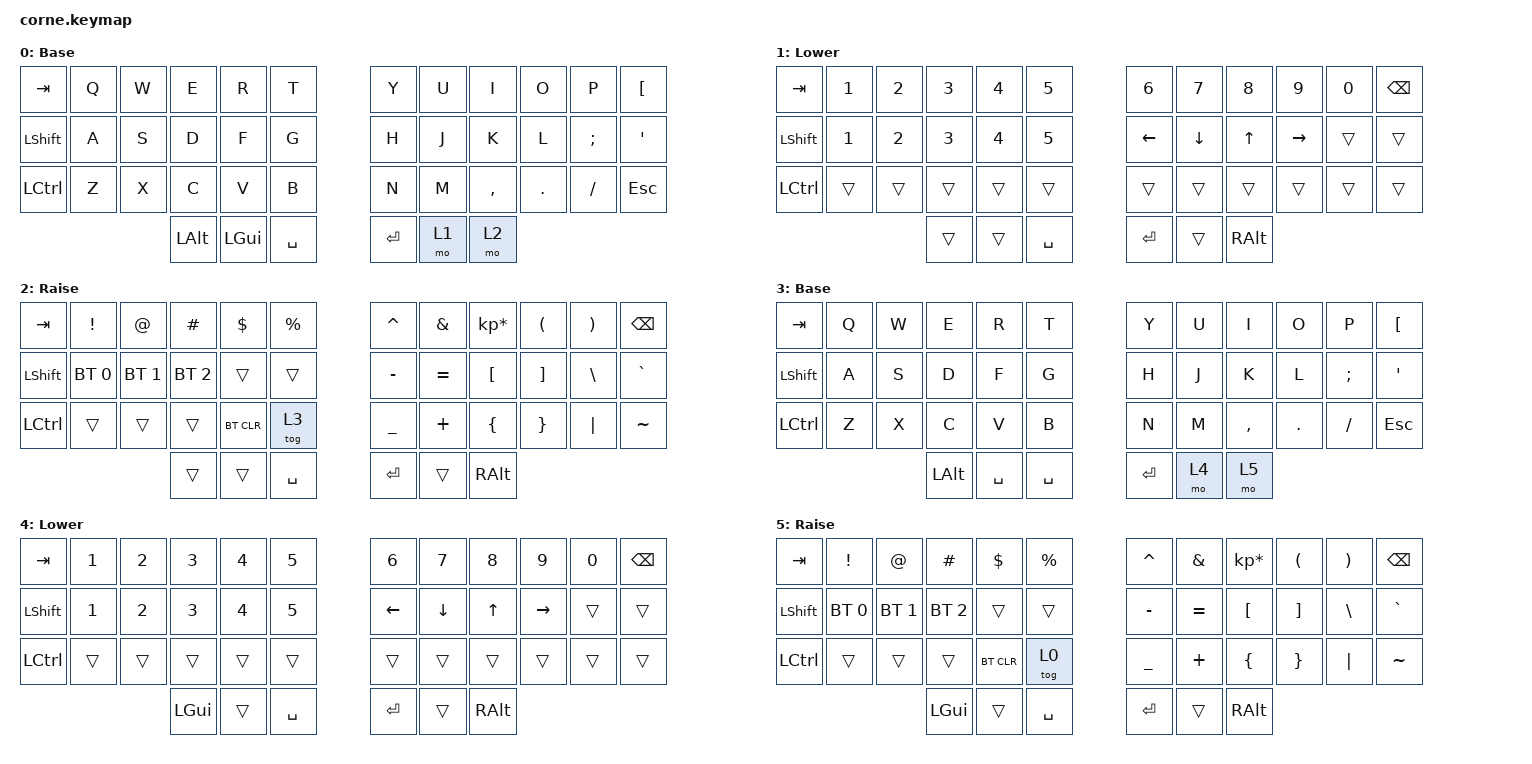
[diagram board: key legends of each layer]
/*
 * Copyright (c) 2020 The ZMK Contributors
 *
 * SPDX-License-Identifier: MIT
 */

#include <behaviors.dtsi>
#include <dt-bindings/zmk/bt.h>
#include <dt-bindings/zmk/keys.h>

/ {
    keymap {
        compatible = "zmk,keymap";

        default_layer {
            // -----------------------------------------------------------------------------------------
            // |  TAB |  Q  |  W  |  E  |  R  |  T  |   |  Y  |  U   |  I  |  O  |  P  | BKSP |
            // | CTRL |  A  |  S  |  D  |  F  |  G  |   |  H  |  J   |  K  |  L  |  ;  |  '   |
            // | SHFT |  Z  |  X  |  C  |  V  |  B  |   |  N  |  M   |  ,  |  .  |  /  | ESC  |
            //                    | GUI | LWR | SPC |   | ENT | RSE  | ALT |

            display-name = "Base";
            bindings = <
&kp TAB           &kp Q  &kp W  &kp E         &kp R         &kp T        &kp Y    &kp U  &kp I      &kp O    &kp P     &kp LEFT_BRACKET
&kp LEFT_SHIFT    &kp A  &kp S  &kp D         &kp F         &kp G        &kp H    &kp J  &kp K      &kp L    &kp SEMI  &kp SQT
&kp LEFT_CONTROL  &kp Z  &kp X  &kp C         &kp V         &kp B        &kp N    &kp M  &kp COMMA  &kp DOT  &kp FSLH  &kp ESC
                                &kp LEFT_ALT  &kp LEFT_GUI  &kp SPACE    &kp RET  &mo 1  &mo 2
            >;
        };

        lower_layer {
            // -----------------------------------------------------------------------------------------
            // |  TAB |  1  |  2  |  3  |  4  |  5  |   |  6  |  7  |  8  |  9  |  0  | BKSP |
            // | BTCLR| BT1 | BT2 | BT3 | BT4 | BT5 |   | LFT | DWN |  UP | RGT |     |      |
            // | SHFT |     |     |     |     |     |   |     |     |     |     |     |      |
            //                    | GUI |     | SPC |   | ENT |     | ALT |

            display-name = "Lower";
            bindings = <
&kp TAB           &kp N1        &kp N2        &kp N3        &kp N4        &kp N5          &kp N6    &kp N7    &kp N8    &kp N9     &kp N0  &kp BSPC
&kp LEFT_SHIFT    &kp NUMBER_1  &kp NUMBER_2  &kp NUMBER_3  &kp NUMBER_4  &kp NUMBER_5    &kp LEFT  &kp DOWN  &kp UP    &kp RIGHT  &trans  &trans
&kp LEFT_CONTROL  &trans        &trans        &trans        &trans        &trans          &trans    &trans    &trans    &trans     &trans  &trans
                                              &trans        &trans        &kp SPACE       &kp RET   &trans    &kp RALT
            >;
        };

        raise_layer {
            // -----------------------------------------------------------------------------------------
            // |  TAB |  !  |  @  |  #  |  $  |  %  |   |  ^  |  &  |  *  |  (  |  )  | BKSP |
            // | CTRL |     |     |     |     |     |   |  -  |  =  |  [  |  ]  |  \  |  `   |
            // | SHFT |     |     |     |     |     |   |  _  |  +  |  {  |  }  | "|" |  ~   |
            //                    | GUI |     | SPC |   | ENT |     | ALT |

            display-name = "Raise";
            bindings = <
&kp TAB           &kp EXCL      &kp AT        &kp HASH      &kp DLLR    &kp PRCNT    &kp CARET  &kp AMPS   &kp KP_MULTIPLY  &kp LPAR  &kp RPAR  &kp BSPC
&kp LEFT_SHIFT    &bt BT_SEL 0  &bt BT_SEL 1  &bt BT_SEL 2  &trans      &trans       &kp MINUS  &kp EQUAL  &kp LBKT         &kp RBKT  &kp BSLH  &kp GRAVE
&kp LEFT_CONTROL  &trans        &trans        &trans        &bt BT_CLR  &tog 3       &kp UNDER  &kp PLUS   &kp LBRC         &kp RBRC  &kp PIPE  &kp TILDE
                                              &trans        &trans      &kp SPACE    &kp RET    &trans     &kp RALT
            >;
        };

        PC_base {
            display-name = "Base";
            bindings = <
&kp TAB           &kp Q  &kp W  &kp E         &kp R      &kp T        &kp Y    &kp U  &kp I      &kp O    &kp P     &kp LEFT_BRACKET
&kp LEFT_SHIFT    &kp A  &kp S  &kp D         &kp F      &kp G        &kp H    &kp J  &kp K      &kp L    &kp SEMI  &kp SQT
&kp LEFT_CONTROL  &kp Z  &kp X  &kp C         &kp V      &kp B        &kp N    &kp M  &kp COMMA  &kp DOT  &kp FSLH  &kp ESC
                                &kp LEFT_ALT  &kp SPACE  &kp SPACE    &kp RET  &mo 4  &mo 5
            >;
        };

        PC_lower {
            display-name = "Lower";
            bindings = <
&kp TAB           &kp N1        &kp N2        &kp N3        &kp N4        &kp N5          &kp N6    &kp N7    &kp N8    &kp N9     &kp N0  &kp BSPC
&kp LEFT_SHIFT    &kp NUMBER_1  &kp NUMBER_2  &kp NUMBER_3  &kp NUMBER_4  &kp NUMBER_5    &kp LEFT  &kp DOWN  &kp UP    &kp RIGHT  &trans  &trans
&kp LEFT_CONTROL  &trans        &trans        &trans        &trans        &trans          &trans    &trans    &trans    &trans     &trans  &trans
                                              &kp LGUI      &trans        &kp SPACE       &kp RET   &trans    &kp RALT
            >;
        };

        PC_raise {
            display-name = "Raise";
            bindings = <
&kp TAB           &kp EXCL      &kp AT        &kp HASH      &kp DLLR    &kp PRCNT    &kp CARET  &kp AMPS   &kp KP_MULTIPLY  &kp LPAR  &kp RPAR  &kp BSPC
&kp LEFT_SHIFT    &bt BT_SEL 0  &bt BT_SEL 1  &bt BT_SEL 2  &trans      &trans       &kp MINUS  &kp EQUAL  &kp LBKT         &kp RBKT  &kp BSLH  &kp GRAVE
&kp LEFT_CONTROL  &trans        &trans        &trans        &bt BT_CLR  &tog 0       &kp UNDER  &kp PLUS   &kp LBRC         &kp RBRC  &kp PIPE  &kp TILDE
                                              &kp LGUI      &trans      &kp SPACE    &kp RET    &trans     &kp RALT
            >;
        };
    };
};
